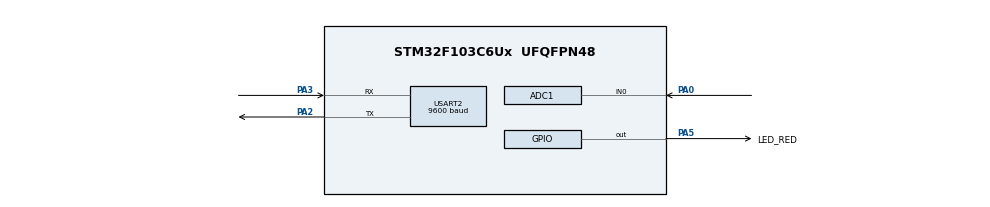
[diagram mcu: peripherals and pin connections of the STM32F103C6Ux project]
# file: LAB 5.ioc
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ADC1.Channel-0\#ChannelRegularConversion=ADC_CHANNEL_0
ADC1.ContinuousConvMode=ENABLE
ADC1.NbrOfConversionFlag=1
ADC1.Rank-0\#ChannelRegularConversion=1
ADC1.SamplingTime-0\#ChannelRegularConversion=ADC_SAMPLETIME_1CYCLE_5
ADC1.master=1
Mcu.Family=STM32F1
Mcu.Name=STM32F103C6Ux
Mcu.Package=UFQFPN48
NVIC.PriorityGroup=NVIC_PRIORITYGROUP_4
NVIC.USART2_IRQn=true\:0\:0\:false\:false\:true\:true\:true
PA0-WKUP.Signal=ADCx_IN0
PA2.Mode=Asynchronous
PA2.Signal=USART2_TX
PA3.Mode=Asynchronous
PA3.Signal=USART2_RX
PA5.GPIO_Label=LED_RED
PA5.Signal=GPIO_Output
PA6.Signal=S_TIM3_CH1
ProjectManager.HeapSize=0x200
ProjectManager.StackSize=0x400
ProjectManager.TargetToolchain=STM32CubeIDE
RCC.APB1Freq_Value=8000000
RCC.APB2Freq_Value=8000000
SH.ADCx_IN0.0=ADC1_IN0,IN0
SH.S_TIM3_CH1.0=TIM3_CH1
TIM2.Period=9
TIM2.Prescaler=7999
USART2.BaudRate=9600
USART2.VirtualMode=VM_ASYNC
VP_SYS_VS_ND.Mode=No_Debug
VP_TIM2_VS_ClockSourceINT.Mode=Internal
board=custom

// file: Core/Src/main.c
/* USER CODE BEGIN Header */
/**
  ******************************************************************************
  * @file           : main.c
  * @brief          : Main program body
  ******************************************************************************
  * @attention
  *
  * <h2><center>&copy; Copyright (c) 2022 STMicroelectronics.
  * All rights reserved.</center></h2>
  *
  * This software component is licensed by ST under BSD 3-Clause license,
  * the "License"; You may not use this file except in compliance with the
  * License. You may obtain a copy of the License at:
  *                        opensource.org/licenses/BSD-3-Clause
  *
  ******************************************************************************
  */
/* USER CODE END Header */
#include "main.h"

/* USER CODE BEGIN Includes */
#include "command_parser.h"
#include "uart_communication.h"
#include "timer.h"
#include "global.h"
/* USER CODE END Includes */

ADC_HandleTypeDef hadc1;

TIM_HandleTypeDef htim2;

UART_HandleTypeDef huart2;

void SystemClock_Config(void);
static void MX_GPIO_Init(void);
static void MX_ADC1_Init(void);
static void MX_USART2_UART_Init(void);
static void MX_TIM2_Init(void);

/* USER CODE BEGIN 0 */
void HAL_UART_RxCpltCallback ( UART_HandleTypeDef * huart )
{
	if(huart->Instance == USART2)
	{
		buffer[index_buffer++] = temp;
		if(index_buffer == 30)
		{
			index_buffer = 0;
		}
		buffer_flag = 1;
		// HAL_UART_Transmit(&huart2, buffer, 1, 50);
		HAL_UART_Receive_IT(&huart2, &temp, 1);
	}
}
/* USER CODE END 0 */

int main(void)
{

  /* MCU Configuration--------------------------------------------------------*/

  /* Reset of all peripherals, Initializes the Flash interface and the Systick. */
  HAL_Init();

  /* Configure the system clock */
  SystemClock_Config();

  /* Initialize all configured peripherals */
  MX_GPIO_Init();
  MX_ADC1_Init();
  MX_USART2_UART_Init();
  MX_TIM2_Init();

  /* Infinite loop */
  /* USER CODE BEGIN WHILE */
  uint8_t pData[] = "123\r\n";
  HAL_UART_Transmit(&huart2, pData, sizeof(pData), 1000);
  HAL_UART_Receive_IT(&huart2, &temp, 1);
  while (1)
  {
    /* USER CODE END WHILE */

    /* USER CODE BEGIN 3 */
	  if(buffer_flag == 1)
	  {
		  command_parser_fsm();
		  buffer_flag = 0;
	  }
	  uart_communication_fsm();
  }
  /* USER CODE END 3 */
}

void SystemClock_Config(void)
{
  RCC_OscInitTypeDef RCC_OscInitStruct = {0};
  RCC_ClkInitTypeDef RCC_ClkInitStruct = {0};
  RCC_PeriphCLKInitTypeDef PeriphClkInit = {0};

  /** Initializes the RCC Oscillators according to the specified parameters
  * in the RCC_OscInitTypeDef structure.
  */
  RCC_OscInitStruct.OscillatorType = RCC_OSCILLATORTYPE_HSI;
  RCC_OscInitStruct.HSIState = RCC_HSI_ON;
  RCC_OscInitStruct.HSICalibrationValue = RCC_HSICALIBRATION_DEFAULT;
  RCC_OscInitStruct.PLL.PLLState = RCC_PLL_NONE;
  if (HAL_RCC_OscConfig(&RCC_OscInitStruct) != HAL_OK)
  {
    Error_Handler();
  }
  /** Initializes the CPU, AHB and APB buses clocks
  */
  RCC_ClkInitStruct.ClockType = RCC_CLOCKTYPE_HCLK|RCC_CLOCKTYPE_SYSCLK
                              |RCC_CLOCKTYPE_PCLK1|RCC_CLOCKTYPE_PCLK2;
  RCC_ClkInitStruct.SYSCLKSource = RCC_SYSCLKSOURCE_HSI;
  RCC_ClkInitStruct.AHBCLKDivider = RCC_SYSCLK_DIV1;
  RCC_ClkInitStruct.APB1CLKDivider = RCC_HCLK_DIV1;
  RCC_ClkInitStruct.APB2CLKDivider = RCC_HCLK_DIV1;

  if (HAL_RCC_ClockConfig(&RCC_ClkInitStruct, FLASH_LATENCY_0) != HAL_OK)
  {
    Error_Handler();
  }
  PeriphClkInit.PeriphClockSelection = RCC_PERIPHCLK_ADC;
  PeriphClkInit.AdcClockSelection = RCC_ADCPCLK2_DIV2;
  if (HAL_RCCEx_PeriphCLKConfig(&PeriphClkInit) != HAL_OK)
  {
    Error_Handler();
  }
}

static void MX_ADC1_Init(void)
{

  ADC_ChannelConfTypeDef sConfig = {0};

  /** Common config
  */
  hadc1.Instance = ADC1;
  hadc1.Init.ScanConvMode = ADC_SCAN_DISABLE;
  hadc1.Init.ContinuousConvMode = ENABLE;
  hadc1.Init.DiscontinuousConvMode = DISABLE;
  hadc1.Init.ExternalTrigConv = ADC_SOFTWARE_START;
  hadc1.Init.DataAlign = ADC_DATAALIGN_RIGHT;
  hadc1.Init.NbrOfConversion = 1;
  if (HAL_ADC_Init(&hadc1) != HAL_OK)
  {
    Error_Handler();
  }
  /** Configure Regular Channel
  */
  sConfig.Channel = ADC_CHANNEL_0;
  sConfig.Rank = ADC_REGULAR_RANK_1;
  sConfig.SamplingTime = ADC_SAMPLETIME_1CYCLE_5;
  if (HAL_ADC_ConfigChannel(&hadc1, &sConfig) != HAL_OK)
  {
    Error_Handler();
  }

}

static void MX_TIM2_Init(void)
{

  TIM_ClockConfigTypeDef sClockSourceConfig = {0};
  TIM_MasterConfigTypeDef sMasterConfig = {0};

  htim2.Instance = TIM2;
  htim2.Init.Prescaler = 7999;
  htim2.Init.CounterMode = TIM_COUNTERMODE_UP;
  htim2.Init.Period = 9;
  htim2.Init.ClockDivision = TIM_CLOCKDIVISION_DIV1;
  htim2.Init.AutoReloadPreload = TIM_AUTORELOAD_PRELOAD_DISABLE;
  if (HAL_TIM_Base_Init(&htim2) != HAL_OK)
  {
    Error_Handler();
  }
  sClockSourceConfig.ClockSource = TIM_CLOCKSOURCE_INTERNAL;
  if (HAL_TIM_ConfigClockSource(&htim2, &sClockSourceConfig) != HAL_OK)
  {
    Error_Handler();
  }
  sMasterConfig.MasterOutputTrigger = TIM_TRGO_RESET;
  sMasterConfig.MasterSlaveMode = TIM_MASTERSLAVEMODE_DISABLE;
  if (HAL_TIMEx_MasterConfigSynchronization(&htim2, &sMasterConfig) != HAL_OK)
  {
    Error_Handler();
  }

}

static void MX_USART2_UART_Init(void)
{

  huart2.Instance = USART2;
  huart2.Init.BaudRate = 9600;
  huart2.Init.WordLength = UART_WORDLENGTH_8B;
  huart2.Init.StopBits = UART_STOPBITS_1;
  huart2.Init.Parity = UART_PARITY_NONE;
  huart2.Init.Mode = UART_MODE_TX_RX;
  huart2.Init.HwFlowCtl = UART_HWCONTROL_NONE;
  huart2.Init.OverSampling = UART_OVERSAMPLING_16;
  if (HAL_UART_Init(&huart2) != HAL_OK)
  {
    Error_Handler();
  }

}

static void MX_GPIO_Init(void)
{
  GPIO_InitTypeDef GPIO_InitStruct = {0};

  /* GPIO Ports Clock Enable */
  __HAL_RCC_GPIOA_CLK_ENABLE();

  /*Configure GPIO pin Output Level */
  HAL_GPIO_WritePin(LED_RED_GPIO_Port, LED_RED_Pin, GPIO_PIN_RESET);

  /*Configure GPIO pin : LED_RED_Pin */
  GPIO_InitStruct.Pin = LED_RED_Pin;
  GPIO_InitStruct.Mode = GPIO_MODE_OUTPUT_PP;
  GPIO_InitStruct.Pull = GPIO_NOPULL;
  GPIO_InitStruct.Speed = GPIO_SPEED_FREQ_LOW;
  HAL_GPIO_Init(LED_RED_GPIO_Port, &GPIO_InitStruct);

  /*Configure GPIO pin : PA6 */
  GPIO_InitStruct.Pin = GPIO_PIN_6;
  GPIO_InitStruct.Mode = GPIO_MODE_AF_PP;
  GPIO_InitStruct.Speed = GPIO_SPEED_FREQ_LOW;
  HAL_GPIO_Init(GPIOA, &GPIO_InitStruct);

}

/* USER CODE BEGIN 4 */
void HAL_TIM_PeriodElapsedCallback(TIM_HandleTypeDef * htim)
{
	TimerRun();
}
/* USER CODE END 4 */

void Error_Handler(void)
{
  __disable_irq();
  while (1)
  {
  }
}

/************************ (C) COPYRIGHT STMicroelectronics *****END OF FILE****/
